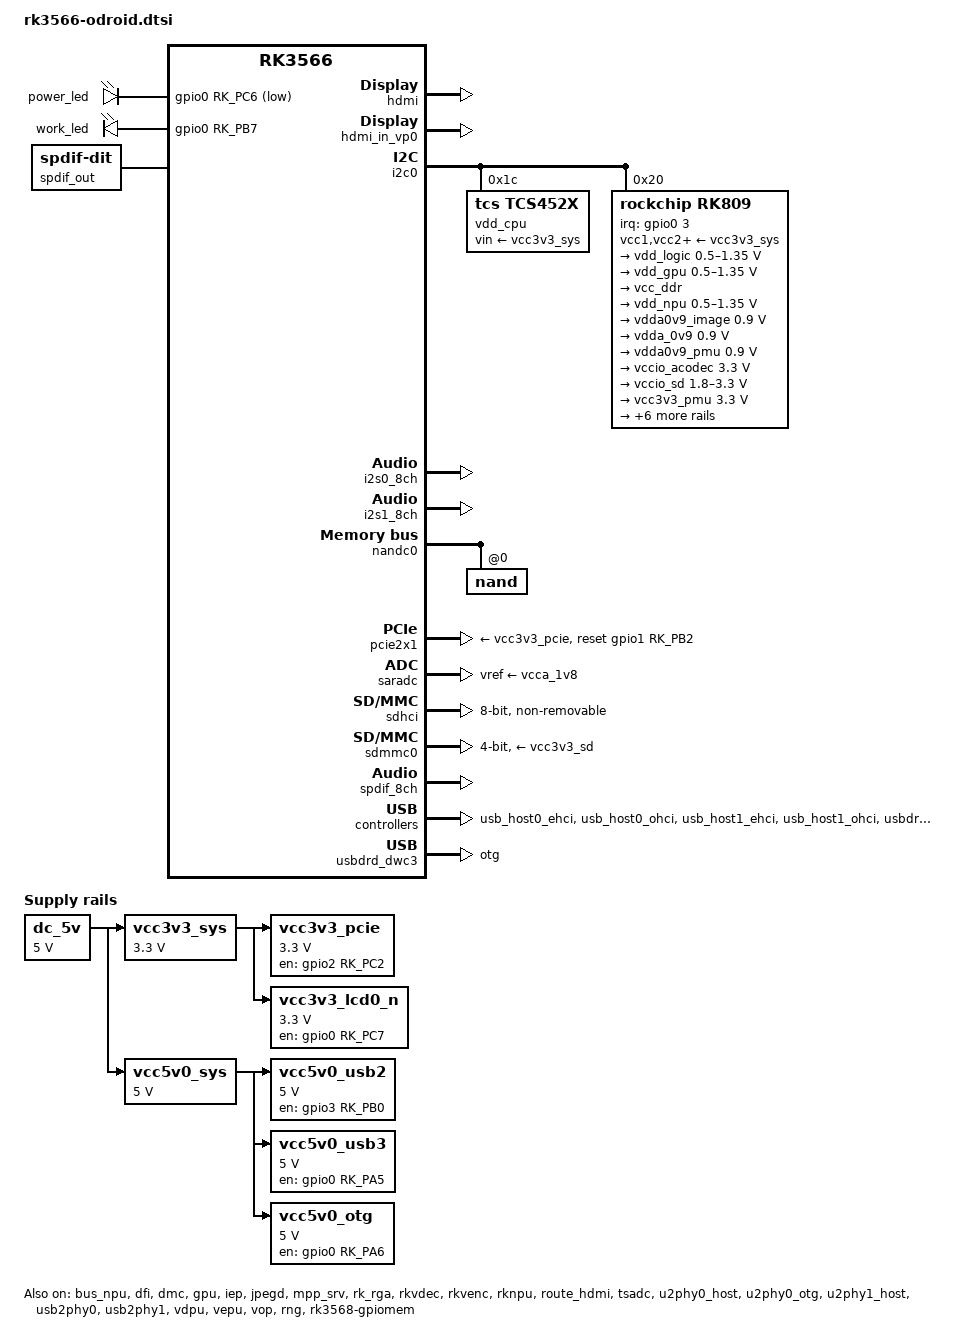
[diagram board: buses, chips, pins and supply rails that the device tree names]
// SPDX-License-Identifier: (GPL-2.0+ OR MIT)
/*
 * Copyright (c) 2020 Rockchip Electronics Co., Ltd.
 *
 */

#include <dt-bindings/gpio/gpio.h>
#include <dt-bindings/pwm/pwm.h>
#include <dt-bindings/pinctrl/rockchip.h>
#include <dt-bindings/input/rk-input.h>
#include <dt-bindings/display/drm_mipi_dsi.h>
#include <dt-bindings/sensor-dev.h>

/ {
	audiopwmout_diff: audiopwmout-diff {
		status = "disabled";
		compatible = "simple-audio-card";
		simple-audio-card,format = "i2s";
		simple-audio-card,name = "rockchip,audiopwmout-diff";
		simple-audio-card,mclk-fs = <256>;
		simple-audio-card,bitclock-master = <&master>;
		simple-audio-card,frame-master = <&master>;
		simple-audio-card,cpu {
			sound-dai = <&i2s3_2ch>;
		};
		master: simple-audio-card,codec {
			sound-dai = <&dig_acodec>;
		};
	};

	dc_5v: dc-5v {
		compatible = "regulator-fixed";
		regulator-name = "dc_5v";
		regulator-always-on;
		regulator-boot-on;
		regulator-min-microvolt = <5000000>;
		regulator-max-microvolt = <5000000>;
	};

	hdmi_sound: hdmi-sound {
		compatible = "simple-audio-card";
		simple-audio-card,format = "i2s";
		simple-audio-card,mclk-fs = <128>;
		simple-audio-card,name = "rockchip,hdmi";
		status = "disabled";

		simple-audio-card,cpu {
				sound-dai = <&i2s0_8ch>;
		};
		simple-audio-card,codec {
				sound-dai = <&hdmi>;
		};
	};

	reserved_memory: reserved-memory {
		#address-cells = <2>;
		#size-cells = <2>;
		ranges;

		rknpu_reserved: rknpu {
			compatible = "shared-dma-pool";
			inactive;
			reusable;
			size = <0x0 0x08000000>;
			alignment = <0x0 0x1000>;
		};
	};

	leds: leds {
		compatible = "gpio-leds";
		power_led: power {
			gpios =<&gpio0 RK_PC6 GPIO_ACTIVE_LOW>;
			linux,default-trigger = "default-on";
		};
		work_led: work {
			gpios = <&gpio0 RK_PB7 GPIO_ACTIVE_HIGH>;
			linux,default-trigger = "heartbeat";
		};
	};

	pdmics: dummy-codec {
		status = "disabled";
		compatible = "rockchip,dummy-codec";
		#sound-dai-cells = <0>;
	};

	pdm_mic_array: pdm-mic-array {
		status = "disabled";
		compatible = "simple-audio-card";
		simple-audio-card,name = "rockchip,pdm-mic-array";
		simple-audio-card,cpu {
			sound-dai = <&pdm>;
		};
		simple-audio-card,codec {
			sound-dai = <&pdmics>;
		};
	};

	rk809_sound: rk809-sound {
		status = "okay";
		compatible = "simple-audio-card";
		simple-audio-card,format = "i2s";
		simple-audio-card,name = "rockchip,rk809-codec";
		simple-audio-card,mclk-fs = <256>;

		simple-audio-card,cpu {
			sound-dai = <&i2s1_8ch>;
		};
		simple-audio-card,codec {
			sound-dai = <&rk809_codec>;
		};
	};

//?????
	rk_headset: rk-headset {
		compatible = "rockchip_headset";
//		headset_gpio = <&gpio0 RK_PB0 GPIO_ACTIVE_LOW>;
//		pinctrl-names = "default";
//		pinctrl-0 = <&hp_det>;
	};

	spdif-sound {
		status = "okay";
		compatible = "simple-audio-card";
		simple-audio-card,name = "ROCKCHIP,SPDIF";
		simple-audio-card,cpu {
				sound-dai = <&spdif_8ch>;
		};
		simple-audio-card,codec {
				sound-dai = <&spdif_out>;
		};
	};

	spdif_out: spdif-out {
			status = "okay";
			compatible = "linux,spdif-dit";
			#sound-dai-cells = <0>;
	};

	vad_sound: vad-sound {
		status = "disabled";
		compatible = "rockchip,multicodecs-card";
		rockchip,card-name = "rockchip,rk3568-vad";
		rockchip,cpu = <&i2s1_8ch>;
		rockchip,codec = <&rk809_codec>, <&vad>;
	};

	vcc3v3_sys: vcc3v3-sys {
		compatible = "regulator-fixed";
		regulator-name = "vcc3v3_sys";
		regulator-always-on;
		regulator-boot-on;
		regulator-min-microvolt = <3300000>;
		regulator-max-microvolt = <3300000>;
		vin-supply = <&dc_5v>;
	};

	vcc5v0_sys: vcc5v0-sys {
		compatible = "regulator-fixed";
		regulator-name = "vcc5v0_sys";
		regulator-always-on;
		regulator-boot-on;
		regulator-min-microvolt = <5000000>;
		regulator-max-microvolt = <5000000>;
		vin-supply = <&dc_5v>;
	};

	vcc5v0_usb2: vcc5v0-usb2-regulator {
		compatible = "regulator-fixed";
		regulator-name = "vcc5v0_usb2";
		regulator-boot-on;
		regulator-always-on;
		regulator-min-microvolt = <5000000>;
		regulator-max-microvolt = <5000000>;
		enable-active-high;
		gpio = <&gpio3 RK_PB0 GPIO_ACTIVE_HIGH>;
		vin-supply = <&vcc5v0_sys>;
		pinctrl-names = "default";
		pinctrl-0 = <&vcc5v0_usb2_en>;
	};

	vcc5v0_usb3: vcc5v0-usb3-regulator {
		compatible = "regulator-fixed";
		regulator-name = "vcc5v0_usb3";
		regulator-boot-on;
		regulator-always-on;
		regulator-min-microvolt = <5000000>;
		regulator-max-microvolt = <5000000>;
		enable-active-high;
		gpio = <&gpio0 RK_PA5 GPIO_ACTIVE_HIGH>;
		vin-supply = <&vcc5v0_sys>;
		pinctrl-names = "default";
		pinctrl-0 = <&vcc5v0_usb3_en>;
	};

	vcc5v0_otg: vcc5v0-otg-regulator {
		compatible = "regulator-fixed";
		regulator-name = "vcc5v0_otg";
		regulator-min-microvolt = <5000000>;
		regulator-max-microvolt = <5000000>;
		enable-active-high;
		gpio = <&gpio0 RK_PA6 GPIO_ACTIVE_HIGH>;
		vin-supply = <&vcc5v0_sys>;
		pinctrl-names = "default";
		pinctrl-0 = <&vcc5v0_otg_en>;
	};

	vcc3v3_pcie: vcc-3v3-pcie-regulator {
		compatible = "regulator-fixed";
		regulator-name = "vcc3v3_pcie";
		enable-active-high;
		regulator-min-microvolt = <3300000>;
		regulator-max-microvolt = <3300000>;
		gpio = <&gpio2 RK_PC2 GPIO_ACTIVE_HIGH>;
		pinctrl-names = "default";
		pinctrl-0 = <&pcie20_3v3_en>;
		regulator-always-on;
		regulator-boot-on;
		//startup-delay-us = <5000>;
		vin-supply = <&vcc3v3_sys>;
	};

	vcc3v3_lcd0_n: vcc3v3-lcd0-n {
		compatible = "regulator-fixed";
		regulator-name = "vcc3v3_lcd0_n";
		regulator-boot-on;
		regulator-min-microvolt = <3300000>;
		regulator-max-microvolt = <3300000>;
		enable-active-high;
		gpio = <&gpio0 RK_PC7 GPIO_ACTIVE_HIGH>;
		vin-supply = <&vcc3v3_sys>;

		regulator-state-mem {
			regulator-off-in-suspend;
		};
	};

	rk3568-gpiomem {
		compatible = "rockchip,rk3568-gpiomem";
		reg = <0x0 0xfd660000 0x0 0x1000>;
		status = "okay";
	};

	test-power {
		status = "okay";
	};
};

&bus_npu {
	bus-supply = <&vdd_logic>;
	pvtm-supply = <&vdd_cpu>;
	status = "okay";
};

&cpu0 {
	cpu-supply = <&vdd_cpu>;
};

&dfi {
	status = "okay";
};

&dmc {
	center-supply = <&vdd_logic>;
	status = "okay";
};

&gpu {
	mali-supply = <&vdd_gpu>;
	status = "okay";
};

&gpu_opp_table {
	/delete-node/ opp-800000000;
};

&hdmi {
	status = "okay";
	rockchip,phy-table =
		<92812500  0x8009 0x0000 0x0270>,
		<165000000 0x800b 0x0000 0x026d>,
		<185625000 0x800b 0x0000 0x01ed>,
		<297000000 0x800b 0x0000 0x01ad>,
		<594000000 0x8029 0x0000 0x0088>,
		<000000000 0x0000 0x0000 0x0000>;
};

&hdmi_in_vp0 {
	status = "okay";
};

&hdmi_in_vp1 {
	status = "disabled";
};

&hdmi_sound {
	status = "okay";
};

&i2c0 {
	status = "okay";

	vdd_cpu: tcs4525@1c {
		compatible = "tcs,tcs452x";
		reg = <0x1c>;
		vin-supply = <&vcc3v3_sys>;
		regulator-compatible = "fan53555-reg";
		regulator-name = "vdd_cpu";
		regulator-min-microvolt = <712500>;
		regulator-max-microvolt = <1390000>;
		regulator-init-microvolt = <900000>;
		regulator-ramp-delay = <2300>;
		fcs,suspend-voltage-selector = <1>;
		regulator-boot-on;
		regulator-always-on;
		regulator-state-mem {
			regulator-off-in-suspend;
		};
	};

	rk809: pmic@20 {
		compatible = "rockchip,rk809";
		reg = <0x20>;
		interrupt-parent = <&gpio0>;
		interrupts = <3 IRQ_TYPE_LEVEL_LOW>;

		pinctrl-names = "default", "pmic-sleep",
				"pmic-power-off", "pmic-reset";
		pinctrl-0 = <&pmic_int>;
		pinctrl-1 = <&soc_slppin_slp>, <&rk817_slppin_slp>;
		pinctrl-2 = <&soc_slppin_gpio>, <&rk817_slppin_pwrdn>;
		pinctrl-3 = <&soc_slppin_gpio>, <&rk817_slppin_rst>;

		rockchip,system-power-controller;
		wakeup-source;
		#clock-cells = <1>;
		clock-output-names = "rk808-clkout1", "rk808-clkout2";
		//fb-inner-reg-idxs = <2>;
		/* 1: rst regs (default in codes), 0: rst the pmic */
		pmic-reset-func = <0>;
		/* not save the PMIC_POWER_EN register in uboot */
		not-save-power-en = <1>;

		vcc1-supply = <&vcc3v3_sys>;
		vcc2-supply = <&vcc3v3_sys>;
		vcc3-supply = <&vcc3v3_sys>;
		vcc4-supply = <&vcc3v3_sys>;
		vcc5-supply = <&vcc3v3_sys>;
		vcc6-supply = <&vcc3v3_sys>;
		vcc7-supply = <&vcc3v3_sys>;
		vcc8-supply = <&vcc3v3_sys>;
		vcc9-supply = <&vcc3v3_sys>;

		pwrkey {
			status = "okay";
		};

		pinctrl_rk8xx: pinctrl_rk8xx {
			gpio-controller;
			#gpio-cells = <2>;

			rk817_slppin_null: rk817_slppin_null {
				pins = "gpio_slp";
				function = "pin_fun0";
			};

			rk817_slppin_slp: rk817_slppin_slp {
				pins = "gpio_slp";
				function = "pin_fun1";
			};

			rk817_slppin_pwrdn: rk817_slppin_pwrdn {
				pins = "gpio_slp";
				function = "pin_fun2";
			};

			rk817_slppin_rst: rk817_slppin_rst {
				pins = "gpio_slp";
				function = "pin_fun3";
			};
		};

		regulators {
			vdd_logic: DCDC_REG1 {
				regulator-always-on;
				regulator-boot-on;
				regulator-min-microvolt = <500000>;
				regulator-max-microvolt = <1350000>;
				regulator-init-microvolt = <900000>;
				regulator-ramp-delay = <6001>;
				regulator-initial-mode = <0x2>;
				regulator-name = "vdd_logic";
				regulator-state-mem {
					regulator-off-in-suspend;
				};
			};

			vdd_gpu: DCDC_REG2 {
				regulator-always-on;
				regulator-boot-on;
				regulator-min-microvolt = <500000>;
				regulator-max-microvolt = <1350000>;
				regulator-init-microvolt = <900000>;
				regulator-ramp-delay = <6001>;
				regulator-initial-mode = <0x2>;
				regulator-name = "vdd_gpu";
				regulator-state-mem {
					regulator-off-in-suspend;
				};
			};

			vcc_ddr: DCDC_REG3 {
				regulator-always-on;
				regulator-boot-on;
				regulator-initial-mode = <0x2>;
				regulator-name = "vcc_ddr";
				regulator-state-mem {
					regulator-on-in-suspend;
				};
			};

			vdd_npu: DCDC_REG4 {
				regulator-always-on;
				regulator-boot-on;
				regulator-min-microvolt = <500000>;
				regulator-max-microvolt = <1350000>;
				regulator-init-microvolt = <900000>;
				regulator-ramp-delay = <6001>;
				regulator-initial-mode = <0x2>;
				regulator-name = "vdd_npu";
				regulator-state-mem {
					regulator-off-in-suspend;
				};
			};

			vdda0v9_image: LDO_REG1 {
				regulator-boot-on;
				regulator-always-on;
				regulator-min-microvolt = <900000>;
				regulator-max-microvolt = <900000>;
				regulator-name = "vdda0v9_image";
				regulator-state-mem {
					regulator-off-in-suspend;
				};
			};

			vdda_0v9: LDO_REG2 {
				regulator-always-on;
				regulator-boot-on;
				regulator-min-microvolt = <900000>;
				regulator-max-microvolt = <900000>;
				regulator-name = "vdda_0v9";
				regulator-state-mem {
					regulator-off-in-suspend;
				};
			};

			vdda0v9_pmu: LDO_REG3 {
				regulator-always-on;
				regulator-boot-on;
				regulator-min-microvolt = <900000>;
				regulator-max-microvolt = <900000>;
				regulator-name = "vdda0v9_pmu";
				regulator-state-mem {
					regulator-on-in-suspend;
					regulator-suspend-microvolt = <900000>;
				};
			};

			vccio_acodec: LDO_REG4 {
				regulator-always-on;
				regulator-boot-on;
				regulator-min-microvolt = <3300000>;
				regulator-max-microvolt = <3300000>;
				regulator-name = "vccio_acodec";
				regulator-state-mem {
					regulator-off-in-suspend;
				};
			};

			vccio_sd: LDO_REG5 {
				regulator-always-on;
				regulator-boot-on;
				regulator-min-microvolt = <1800000>;
				regulator-max-microvolt = <3300000>;
				regulator-name = "vccio_sd";
				regulator-state-mem {
					regulator-off-in-suspend;
				};
			};

			vcc3v3_pmu: LDO_REG6 {
				regulator-always-on;
				regulator-boot-on;
				regulator-min-microvolt = <3300000>;
				regulator-max-microvolt = <3300000>;
				regulator-name = "vcc3v3_pmu";
				regulator-state-mem {
					regulator-on-in-suspend;
					regulator-suspend-microvolt = <3300000>;
				};
			};

			vcca_1v8: LDO_REG7 {
				regulator-always-on;
				regulator-boot-on;
				regulator-min-microvolt = <1800000>;
				regulator-max-microvolt = <1800000>;
				regulator-name = "vcca_1v8";
				regulator-state-mem {
					regulator-off-in-suspend;
				};
			};

			vcca1v8_ddr: LDO_REG8 {
				regulator-always-on;
				regulator-boot-on;
				regulator-min-microvolt = <1800000>;
				regulator-max-microvolt = <1800000>;
				regulator-name = "vcca1v8_pmu";
				regulator-state-mem {
					regulator-on-in-suspend;
					regulator-suspend-microvolt = <1800000>;
				};
			};

			vcca1v8_image: LDO_REG9 {
				regulator-always-on;
				regulator-boot-on;
				regulator-min-microvolt = <1800000>;
				regulator-max-microvolt = <1800000>;
				regulator-name = "vcca1v8_image";
				regulator-state-mem {
					regulator-off-in-suspend;
				};
			};

			vcc_1v8: DCDC_REG5 {
				regulator-always-on;
				regulator-boot-on;
				regulator-min-microvolt = <1800000>;
				regulator-max-microvolt = <1800000>;
				regulator-name = "vcc_1v8";
				regulator-state-mem {
					regulator-off-in-suspend;
				};
			};

			vcc_3v3: SWITCH_REG1 {
				regulator-always-on;
				regulator-boot-on;
				regulator-name = "vcc_3v3";
				regulator-state-mem {
					regulator-off-in-suspend;
				};
			};

			vcc3v3_sd: SWITCH_REG2 {
				regulator-always-on;
				regulator-boot-on;
				regulator-name = "vcc3v3_sd";
				regulator-state-mem {
					regulator-off-in-suspend;
				};
			};
		};

		rk809_codec: codec {
			#sound-dai-cells = <0>;
			compatible = "rockchip,rk809-codec", "rockchip,rk817-codec";
			clocks = <&cru I2S1_MCLKOUT>;
			clock-names = "mclk";
			assigned-clocks = <&cru I2S1_MCLKOUT>, <&cru I2S1_MCLK_TX_IOE>;
			assigned-clock-rates = <12288000>;
			assigned-clock-parents = <&cru I2S1_MCLKOUT_TX>, <&cru I2S1_MCLKOUT_TX>;
			pinctrl-names = "default";
			pinctrl-0 = <&i2s1m0_mclk>;
			hp-volume = <20>;
			spk-volume = <3>;
			mic-in-differential;
			status = "okay";
		};
	};
};

&i2s0_8ch {
	status = "okay";
};

&i2s1_8ch {
	status = "okay";
	rockchip,clk-trcm = <1>;
	pinctrl-names = "default";
	pinctrl-0 = <&i2s1m0_sclktx
		     &i2s1m0_lrcktx
		     &i2s1m0_sdi0
		     &i2s1m0_sdo0>;
};

&iep {
	status = "okay";
};

&iep_mmu {
	status = "okay";
};

&jpegd {
	status = "okay";
};

&jpegd_mmu {
	status = "okay";
};

&mpp_srv {
	status = "okay";
};

&nandc0 {
	#address-cells = <1>;
	#size-cells = <0>;
	status = "okay";

	nand@0 {
		reg = <0>;
		nand-bus-width = <8>;
		nand-ecc-mode = "hw";
		nand-ecc-strength = <16>;
		nand-ecc-step-size = <1024>;
	};
};

&pcie2x1 {
	reset-gpios = <&gpio1 RK_PB2 GPIO_ACTIVE_HIGH>;
	vpcie3v3-supply = <&vcc3v3_pcie>;
	pinctrl-0 = <&pcie20m2_pins>;
	status = "okay";
};

&pinctrl {

	can_pins {
		mcp2515_int_pins: mcp2515_int_pins {
			rockchip,pins = <RK_GPIO0 RK_PC0 RK_FUNC_GPIO &pcfg_pull_none>;
		};
	};

	pcie {
		pcie20_3v3_en: pcie20-3v3-en {
			rockchip,pins = <2 RK_PC2 RK_FUNC_GPIO &pcfg_pull_none>;
		};
	};

	pmic {
		pmic_int: pmic_int {
			rockchip,pins =
				<0 RK_PA3 RK_FUNC_GPIO &pcfg_pull_up>;
		};

		soc_slppin_gpio: soc_slppin_gpio {
			rockchip,pins =
				<0 RK_PA2 RK_FUNC_GPIO &pcfg_output_low_pull_down>;
		};

		soc_slppin_slp: soc_slppin_slp {
			rockchip,pins =
				<0 RK_PA2 1 &pcfg_pull_up>;
		};

		soc_slppin_rst: soc_slppin_rst {
			rockchip,pins =
				<0 RK_PA2 2 &pcfg_pull_none>;
		};
	};

	usb {
		vcc5v0_usb2_en: vcc5v0-usb2-en {
			rockchip,pins = <3 RK_PB0 RK_FUNC_GPIO &pcfg_pull_none>;
		};

		vcc5v0_usb3_en: vcc5v0-usb3-en {
			rockchip,pins = <0 RK_PA5 RK_FUNC_GPIO &pcfg_pull_none>;
		};

		vcc5v0_otg_en: vcc5v0-otg-en {
			rockchip,pins = <0 RK_PA6 RK_FUNC_GPIO &pcfg_pull_none>;
		};
	};
};

 /*
  * There are 10 independent IO domains in RK3566/RK3568, including PMUIO[0:2] and VCCIO[1:7].
  * 1/ PMUIO0 and PMUIO1 are fixed-level power domains which cannot be configured;
  * 2/ PMUIO2 and VCCIO1,VCCIO[3:7] domains require that their hardware power supply voltages
  *    must be consistent with the software configuration correspondingly
  *	a/ When the hardware IO level is connected to 1.8V, the software voltage configuration
  *	   should also be configured to 1.8V accordingly;
  *	b/ When the hardware IO level is connected to 3.3V, the software voltage configuration
  *	   should also be configured to 3.3V accordingly;
  * 3/ VCCIO2 voltage control selection (0xFDC20140)
  *	BIT[0]: 0x0: from GPIO_0A7 (default)
  *	BIT[0]: 0x1: from GRF
  *    Default is determined by Pin FLASH_VOL_SEL/GPIO0_A7:
  *	L:VCCIO2 must supply 3.3V
  *	H:VCCIO2 must supply 1.8V
  */
&pmu_io_domains {
	status = "okay";
	pmuio2-supply = <&vcc3v3_pmu>;
	vccio1-supply = <&vccio_acodec>;
	vccio3-supply = <&vccio_sd>;
	vccio4-supply = <&vcc_3v3>;
	vccio5-supply = <&vcc_3v3>;
	vccio6-supply = <&vcc_3v3>;
	vccio7-supply = <&vcc_3v3>;
};

&rk_rga {
	status = "okay";
};

&rkvdec {
	status = "okay";
};

&rkvdec_mmu {
	status = "okay";
};

&rkvenc {
	venc-supply = <&vdd_logic>;
	status = "okay";
};

&rkvenc_mmu {
	status = "okay";
};

&rknpu {
	memory-region = <&rknpu_reserved>;
	rknpu-supply = <&vdd_npu>;
	status = "okay";
};

&rknpu_mmu {
	status = "okay";
	memory-region = <&rknpu_reserved>;
};

&route_hdmi {
	status = "okay";
	connect = <&vp0_out_hdmi>;
};

&saradc {
	status = "okay";
	vref-supply = <&vcca_1v8>;
};

&sdhci {
	pinctrl-0 = <&emmc_bus8
		&emmc_clk
		&emmc_cmd
		&emmc_datastrobe
		&emmc_rstnout>;
	pinctrl-names = "default";
	bus-width = <8>;
	supports-emmc;
	non-removable;
	max-frequency = <200000000>;
	mmc-hs200-1_8v;
	cap-mmc-hw-reset;
	status = "okay";
};

&sdmmc0 {
	max-frequency = <150000000>;
	supports-sd;
	bus-width = <4>;
	cap-mmc-highspeed;
	cap-sd-highspeed;
	disable-wp;
	sd-uhs-sdr104;
	vmmc-supply = <&vcc3v3_sd>;
	vqmmc-supply = <&vccio_sd>;
	pinctrl-names = "default";
	pinctrl-0 = <&sdmmc0_bus4 &sdmmc0_clk &sdmmc0_cmd &sdmmc0_det>;
	status = "okay";
};

&spdif_8ch {
	status = "okay";
};

&tsadc {
	status = "okay";
};

&u2phy0_host {
	phy-supply = <&vcc5v0_usb3>;
	status = "okay";
};

&u2phy0_otg {
	vbus-supply = <&vcc5v0_otg>;
	status = "okay";
};

&u2phy1_host {
	phy-supply = <&vcc5v0_usb2>;
	status = "okay";
};

&usb2phy0 {
	status = "okay";
};

&usb2phy1 {
	status = "okay";
};

&usb_host0_ehci {
	status = "okay";
};

&usb_host0_ohci {
	status = "okay";
};

&usb_host1_ehci {
	status = "okay";
};

&usb_host1_ohci {
	status = "okay";
};

&usbdrd_dwc3 {
	dr_mode = "otg";
	extcon = <&usb2phy0>;
	status = "okay";
};

&usbdrd30 {
	status = "okay";
};

&usbhost_dwc3 {
	status = "okay";
};

&usbhost30 {
	status = "okay";
};

&vad {
	rockchip,audio-src = <&i2s1_8ch>;
	rockchip,buffer-time-ms = <128>;
	rockchip,det-channel = <0>;
	rockchip,mode = <0>;
};

&vdpu {
	status = "okay";
};

&vdpu_mmu {
	status = "okay";
};

&vepu {
	status = "okay";
};

&vepu_mmu {
	status = "okay";
};

&vop {
	status = "okay";
	assigned-clocks = <&cru DCLK_VOP0>, <&cru DCLK_VOP1>;
	assigned-clock-parents = <&pmucru PLL_HPLL>, <&cru PLL_VPLL>;
};

&vp0 {
	rockchip,plane-mask = <0x3f>;
	rockchip,primary-plane = <5>;
};

&vop_mmu {
	status = "okay";
};

&reserved_memory {
	ramoops: ramoops@110000 {
		compatible = "ramoops";
		reg = <0x0 0x110000 0x0 0xf0000>;
		record-size = <0x20000>;
		console-size = <0x80000>;
		ftrace-size = <0x00000>;
		pmsg-size = <0x50000>;
	};
};

&rng {
	status = "okay";
};
